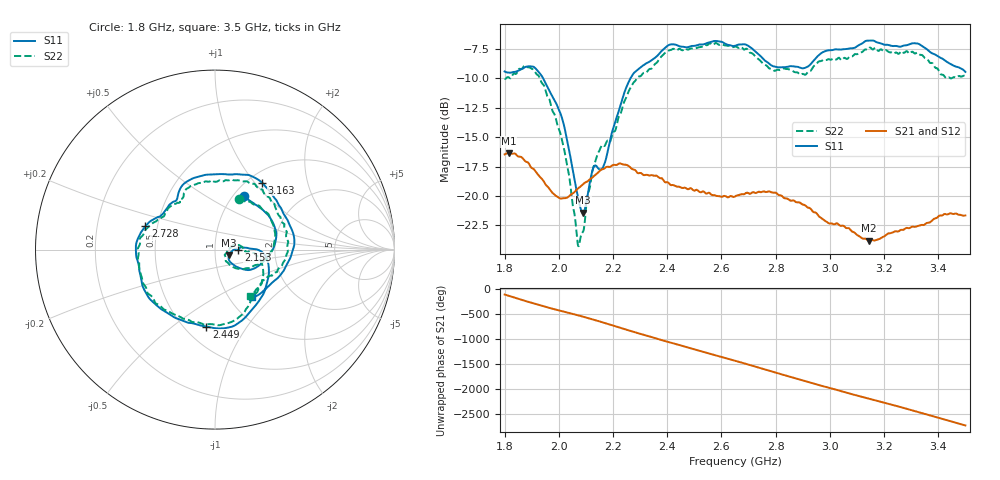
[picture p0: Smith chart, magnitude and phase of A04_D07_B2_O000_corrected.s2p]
! Created with skrf 1.9.0 (http://scikit-rf.org).
# Hz S RI R 50.0
!freq ReS11 ImS11 ReS21 ImS21 ReS12 ImS12 ReS22 ImS22
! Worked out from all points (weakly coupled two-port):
!   1601 points, 1.8 GHz to 3.5 GHz, reference 50 ohm
!   highest |S21| = -16.36 dB at 1.815 GHz (marker M1); lowest = -23.8 dB at 3.143 GHz (marker M2)
!   lowest |S11| = -21.4 dB at 2.09 GHz (marker M3), VSWR 1.19, Z = 58.5 - j3.53 ohm
!   |S11| at or under -10 dB: 1.942 GHz to 2.264 GHz (322.1 MHz wide, 15.3 % of centre)
!   |S22| runs from -24.3 to -7.0 dB; largest |S21 - S12| = 0.003
!   S11 on the Smith chart (normalised r, x): 1.8 GHz: 1.12, +0.75; 2.153 GHz: 1.30, +0.00; 2.449 GHz: 0.63, -0.67; 2.728 GHz: 0.43, +0.13; 3.163 GHz: 1.16, +1.09; 3.5 GHz: 1.27, -0.76
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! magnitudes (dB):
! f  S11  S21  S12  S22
! 1.8 GHz  -9.4  -16.5  -16.5  -10.0
! 1.815 GHz  -9.5  -16.4  -16.4  -9.9
! 1.88 GHz  -9.0  -17.1  -17.1  -9.0
! 1.943 GHz  -10.1  -18.7  -18.7  -10.6
! 2.013 GHz  -13.4  -20.2  -20.2  -15.3
! 2.069 GHz  -19.9  -19.4  -19.4  -23.9
! 2.084 GHz  -21.3  -19.1  -19.1  -23.2
! 2.09 GHz  -21.4  -19.0  -19.0  -23.0
! 2.127 GHz  -17.6  -18.4  -18.4  -17.6
! 2.153 GHz  -17.8  -17.8  -17.9  -16.0
! 2.193 GHz  -14.9  -17.5  -17.5  -15.1
! 2.262 GHz  -10.1  -17.5  -17.6  -10.9
! 2.367 GHz  -8.0  -18.4  -18.3  -8.5
! 2.449 GHz  -7.3  -19.3  -19.3  -7.5
! 2.65 GHz  -7.2  -20.0  -20.0  -7.3
! 2.728 GHz  -7.8  -19.7  -19.8  -8.2
! 2.934 GHz  -8.7  -21.2  -21.2  -9.2
! 3.143 GHz  -6.8  -23.8  -23.7  -7.5
! 3.163 GHz  -6.8  -23.8  -23.8  -7.5
! 3.217 GHz  -7.2  -23.2  -23.2  -7.8
! 3.326 GHz  -7.1  -22.5  -22.5  -7.9
! 3.5 GHz  -9.5  -21.7  -21.7  -9.9
